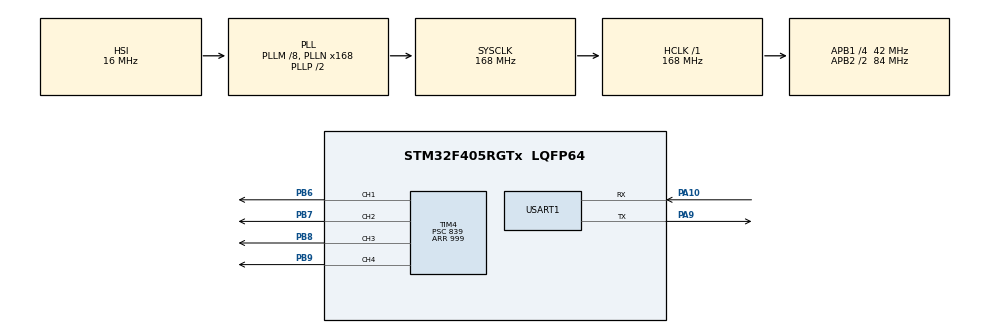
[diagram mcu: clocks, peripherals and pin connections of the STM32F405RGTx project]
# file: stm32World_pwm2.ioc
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Mcu.Family=STM32F4
Mcu.Name=STM32F405RGTx
Mcu.Package=LQFP64
NVIC.PriorityGroup=NVIC_PRIORITYGROUP_4
PA10.Mode=Asynchronous
PA10.Signal=USART1_RX
PA13.Mode=Trace_Asynchronous_SW
PA13.Signal=SYS_JTMS-SWDIO
PA14.Mode=Trace_Asynchronous_SW
PA14.Signal=SYS_JTCK-SWCLK
PA9.Mode=Asynchronous
PA9.Signal=USART1_TX
PB3.Mode=Trace_Asynchronous_SW
PB3.Signal=SYS_JTDO-SWO
PB6.Signal=S_TIM4_CH1
PB7.Signal=S_TIM4_CH2
PB8.Signal=S_TIM4_CH3
PB9.Signal=S_TIM4_CH4
PH0-OSC_IN.Mode=HSE-External-Oscillator
PH0-OSC_IN.Signal=RCC_OSC_IN
PH1-OSC_OUT.Mode=HSE-External-Oscillator
PH1-OSC_OUT.Signal=RCC_OSC_OUT
ProjectManager.HeapSize=0x200
ProjectManager.StackSize=0x400
ProjectManager.TargetToolchain=STM32CubeIDE
RCC.48MHZClocksFreq_Value=84000000
RCC.AHBFreq_Value=168000000
RCC.APB1CLKDivider=RCC_HCLK_DIV4
RCC.APB1Freq_Value=42000000
RCC.APB1TimFreq_Value=84000000
RCC.APB2CLKDivider=RCC_HCLK_DIV2
RCC.APB2Freq_Value=84000000
RCC.APB2TimFreq_Value=168000000
RCC.CortexFreq_Value=168000000
RCC.HCLKFreq_Value=168000000
RCC.HSE_VALUE=16000000
RCC.HSI_VALUE=16000000
RCC.LSE_VALUE=32768
RCC.PLLM=8
RCC.PLLN=168
RCC.SYSCLKFreq_VALUE=168000000
RCC.SYSCLKSource=RCC_SYSCLKSOURCE_PLLCLK
RCC.VCOOutputFreq_Value=336000000
SH.S_TIM4_CH1.0=TIM4_CH1,PWM Generation1 CH1
SH.S_TIM4_CH2.0=TIM4_CH2,PWM Generation2 CH2
SH.S_TIM4_CH3.0=TIM4_CH3,PWM Generation3 CH3
SH.S_TIM4_CH4.0=TIM4_CH4,PWM Generation4 CH4
TIM4.Channel-PWM\ Generation1\ CH1=TIM_CHANNEL_1
TIM4.Channel-PWM\ Generation2\ CH2=TIM_CHANNEL_2
TIM4.Channel-PWM\ Generation3\ CH3=TIM_CHANNEL_3
TIM4.Channel-PWM\ Generation4\ CH4=TIM_CHANNEL_4
TIM4.OCPolarity_1=TIM_OCPOLARITY_LOW
TIM4.OCPolarity_2=TIM_OCPOLARITY_LOW
TIM4.OCPolarity_3=TIM_OCPOLARITY_LOW
TIM4.OCPolarity_4=TIM_OCPOLARITY_LOW
TIM4.Period=999
TIM4.Prescaler=839
TIM4.Pulse-PWM\ Generation1\ CH1=100
USART1.VirtualMode=VM_ASYNC
VP_TIM4_VS_ClockSourceINT.Mode=Internal
board=custom

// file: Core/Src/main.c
/* USER CODE BEGIN Header */
/**
  ******************************************************************************
  * @file           : main.c
  * @brief          : Main program body
  ******************************************************************************
  * @attention
  *
  * Copyright (c) 2025 STMicroelectronics.
  * All rights reserved.
  *
  * This software is licensed under terms that can be found in the LICENSE file
  * in the root directory of this software component.
  * If no LICENSE file comes with this software, it is provided AS-IS.
  *
  ******************************************************************************
  */
/* USER CODE END Header */
#include "main.h"

TIM_HandleTypeDef htim4;

UART_HandleTypeDef huart1;

void SystemClock_Config(void);
static void MX_GPIO_Init(void);
static void MX_USART1_UART_Init(void);
static void MX_TIM4_Init(void);
/* USER CODE BEGIN PFP */
int __io_putchar(int ch)
{
    HAL_UART_Transmit(&huart1, (uint8_t *) ch, 1, HAL_MAX_DELAY);
    return ch;
}
/* USER CODE END PFP */

int main(void)
{

  /* MCU Configuration--------------------------------------------------------*/

  /* Reset of all peripherals, Initializes the Flash interface and the Systick. */
  HAL_Init();

  /* Configure the system clock */
  SystemClock_Config();

  /* Initialize all configured peripherals */
  MX_GPIO_Init();
  MX_USART1_UART_Init();
  MX_TIM4_Init();
  /* USER CODE BEGIN 2 */
  printf("\n\n\n\n STARTNG PWM2....");
  printf("\n\n\n\n STARTNG TIMER CHANNEL....");

  //HAL_TIM_Base_Start_IT(&htim4);
  HAL_TIM_PWM_Start(&htim4,TIM_CHANNEL_1);
  HAL_TIM_PWM_Start(&htim4,TIM_CHANNEL_2);
  HAL_TIM_PWM_Start(&htim4,TIM_CHANNEL_3);
  HAL_TIM_PWM_Start(&htim4,TIM_CHANNEL_4);
 // __HAL_TIM_SET_COMPARE(&htim4,TIM_CHANNEL_1,900);

  /* USER CODE END 2 */

  /* Infinite loop */
  /* USER CODE BEGIN WHILE */
  uint16_t pwm_value=0;
  int8_t pwm_change =0;

  uint32_t now=0, next_tick = 1000 , loop_cnt =0 , next_change = 0;
  while (1)
  {
      now = uwTick;
      if ( now >= next_tick){
          printf("tick %lu and loop count %lu \n",now/1000,loop_cnt);
          next_tick = now+1000;
          loop_cnt =0;
      }
      if (now >= next_change){
          __HAL_TIM_SET_COMPARE(&htim4,TIM_CHANNEL_1,pwm_value);
          __HAL_TIM_SET_COMPARE(&htim4,TIM_CHANNEL_2,pwm_value);
          __HAL_TIM_SET_COMPARE(&htim4,TIM_CHANNEL_3,pwm_value);
          __HAL_TIM_SET_COMPARE(&htim4,TIM_CHANNEL_4,pwm_value);

          pwm_value += pwm_change;
          if(pwm_value == 0) { pwm_change =1;}
          if(pwm_value == 100) { pwm_change =-1;}
          next_change = now + 100;
      }
     ++ loop_cnt;
    /* USER CODE END WHILE */

  }
}

void SystemClock_Config(void)
{
  RCC_OscInitTypeDef RCC_OscInitStruct = {0};
  RCC_ClkInitTypeDef RCC_ClkInitStruct = {0};

  /** Configure the main internal regulator output voltage
  */
  __HAL_RCC_PWR_CLK_ENABLE();
  __HAL_PWR_VOLTAGESCALING_CONFIG(PWR_REGULATOR_VOLTAGE_SCALE1);

  /** Initializes the RCC Oscillators according to the specified parameters
  * in the RCC_OscInitTypeDef structure.
  */
  RCC_OscInitStruct.OscillatorType = RCC_OSCILLATORTYPE_HSI;
  RCC_OscInitStruct.HSIState = RCC_HSI_ON;
  RCC_OscInitStruct.HSICalibrationValue = RCC_HSICALIBRATION_DEFAULT;
  RCC_OscInitStruct.PLL.PLLState = RCC_PLL_ON;
  RCC_OscInitStruct.PLL.PLLSource = RCC_PLLSOURCE_HSI;
  RCC_OscInitStruct.PLL.PLLM = 8;
  RCC_OscInitStruct.PLL.PLLN = 168;
  RCC_OscInitStruct.PLL.PLLP = RCC_PLLP_DIV2;
  RCC_OscInitStruct.PLL.PLLQ = 4;
  if (HAL_RCC_OscConfig(&RCC_OscInitStruct) != HAL_OK)
  {
    Error_Handler();
  }

  /** Initializes the CPU, AHB and APB buses clocks
  */
  RCC_ClkInitStruct.ClockType = RCC_CLOCKTYPE_HCLK|RCC_CLOCKTYPE_SYSCLK
                              |RCC_CLOCKTYPE_PCLK1|RCC_CLOCKTYPE_PCLK2;
  RCC_ClkInitStruct.SYSCLKSource = RCC_SYSCLKSOURCE_PLLCLK;
  RCC_ClkInitStruct.AHBCLKDivider = RCC_SYSCLK_DIV1;
  RCC_ClkInitStruct.APB1CLKDivider = RCC_HCLK_DIV4;
  RCC_ClkInitStruct.APB2CLKDivider = RCC_HCLK_DIV2;

  if (HAL_RCC_ClockConfig(&RCC_ClkInitStruct, FLASH_LATENCY_5) != HAL_OK)
  {
    Error_Handler();
  }
}

static void MX_TIM4_Init(void)
{

  TIM_ClockConfigTypeDef sClockSourceConfig = {0};
  TIM_MasterConfigTypeDef sMasterConfig = {0};
  TIM_OC_InitTypeDef sConfigOC = {0};

  htim4.Instance = TIM4;
  htim4.Init.Prescaler = 839;
  htim4.Init.CounterMode = TIM_COUNTERMODE_UP;
  htim4.Init.Period = 999;
  htim4.Init.ClockDivision = TIM_CLOCKDIVISION_DIV1;
  htim4.Init.AutoReloadPreload = TIM_AUTORELOAD_PRELOAD_DISABLE;
  if (HAL_TIM_Base_Init(&htim4) != HAL_OK)
  {
    Error_Handler();
  }
  sClockSourceConfig.ClockSource = TIM_CLOCKSOURCE_INTERNAL;
  if (HAL_TIM_ConfigClockSource(&htim4, &sClockSourceConfig) != HAL_OK)
  {
    Error_Handler();
  }
  if (HAL_TIM_PWM_Init(&htim4) != HAL_OK)
  {
    Error_Handler();
  }
  sMasterConfig.MasterOutputTrigger = TIM_TRGO_RESET;
  sMasterConfig.MasterSlaveMode = TIM_MASTERSLAVEMODE_DISABLE;
  if (HAL_TIMEx_MasterConfigSynchronization(&htim4, &sMasterConfig) != HAL_OK)
  {
    Error_Handler();
  }
  sConfigOC.OCMode = TIM_OCMODE_PWM1;
  sConfigOC.Pulse = 100;
  sConfigOC.OCPolarity = TIM_OCPOLARITY_LOW;
  sConfigOC.OCFastMode = TIM_OCFAST_DISABLE;
  if (HAL_TIM_PWM_ConfigChannel(&htim4, &sConfigOC, TIM_CHANNEL_1) != HAL_OK)
  {
    Error_Handler();
  }
  sConfigOC.Pulse = 0;
  if (HAL_TIM_PWM_ConfigChannel(&htim4, &sConfigOC, TIM_CHANNEL_2) != HAL_OK)
  {
    Error_Handler();
  }
  if (HAL_TIM_PWM_ConfigChannel(&htim4, &sConfigOC, TIM_CHANNEL_3) != HAL_OK)
  {
    Error_Handler();
  }
  if (HAL_TIM_PWM_ConfigChannel(&htim4, &sConfigOC, TIM_CHANNEL_4) != HAL_OK)
  {
    Error_Handler();
  }
  HAL_TIM_MspPostInit(&htim4);

}

static void MX_USART1_UART_Init(void)
{

  huart1.Instance = USART1;
  huart1.Init.BaudRate = 115200;
  huart1.Init.WordLength = UART_WORDLENGTH_8B;
  huart1.Init.StopBits = UART_STOPBITS_1;
  huart1.Init.Parity = UART_PARITY_NONE;
  huart1.Init.Mode = UART_MODE_TX_RX;
  huart1.Init.HwFlowCtl = UART_HWCONTROL_NONE;
  huart1.Init.OverSampling = UART_OVERSAMPLING_16;
  if (HAL_UART_Init(&huart1) != HAL_OK)
  {
    Error_Handler();
  }

}

static void MX_GPIO_Init(void)
{

  /* GPIO Ports Clock Enable */
  __HAL_RCC_GPIOH_CLK_ENABLE();
  __HAL_RCC_GPIOA_CLK_ENABLE();
  __HAL_RCC_GPIOB_CLK_ENABLE();

}

void Error_Handler(void)
{
  __disable_irq();
  while (1)
  {
  }
}
